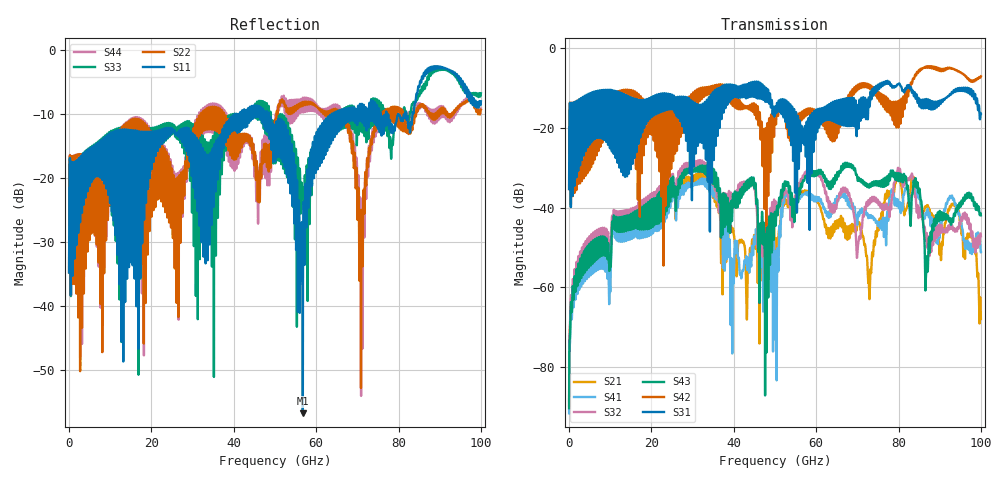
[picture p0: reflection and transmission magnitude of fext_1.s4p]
# Hz S RI R 50
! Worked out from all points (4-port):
!   10000 points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, 10 MHz to 100 GHz, reference 50 ohm
!   strongest paths, dB at 10 MHz, 25.01 GHz, 50.01 GHz, 75.01 GHz, 100 GHz:
!     S31: -35.3, -11.6, -14.8, -9.2, -16.3
!     S42: -35.3, -14.4, -15.0, -11.9, -7.0
!     S43: -90.4, -37.2, -41.1, -33.6, -41.9
!     S32: -88.7, -35.8, -40.3, -38.3, -47.2
!     S41: -91.7, -38.4, -73.1, -44.5, -51.2
!     S21: -89.8, -37.2, -53.5, -44.3, -68.0
!   lowest |S11| = -56.8 dB at 56.76 GHz (marker M1), VSWR 1.00, Z = 50.1 - j0.0894 ohm
!   |S11| at or under -10 dB: start of sweep to 40.64 GHz; 48.51 GHz to 63.8 GHz (15.29 GHz wide, 27.2 % of centre); 77.1 GHz to 79.88 GHz (2.778 GHz wide, 3.54 % of centre)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
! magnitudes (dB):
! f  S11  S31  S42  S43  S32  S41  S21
! 10 MHz  -34.8  -35.3  -35.3  -90.4  -88.7  -91.7  -89.8
! 10.91 GHz  -19.9  -16.3  -11.8  -42.3  -40.8  -44.2  -42.8
! 49.98 GHz  -14.6  -15.2  -15.4  -41.1  -40.0  -65.8  -52.2
! 56.76 GHz  -56.8  -21.7  -16.2  -33.3  -32.0  -36.7  -35.8
! 70.88 GHz  -11.1  -13.4  -9.9  -33.0  -45.2  -41.3  -45.5
! 93.37 GHz  -3.5  -10.6  -5.1  -42.2  -45.5  -37.8  -39.0
! 100 GHz  -8.0  -16.3  -7.0  -41.9  -47.2  -51.2  -68.0
